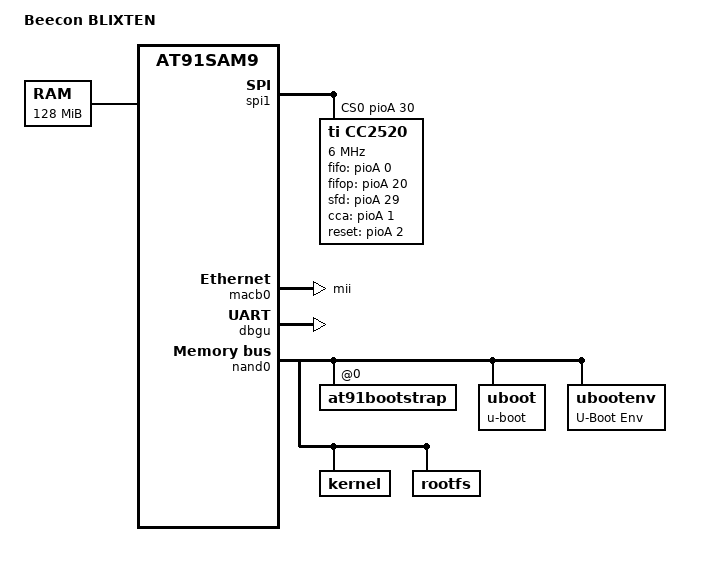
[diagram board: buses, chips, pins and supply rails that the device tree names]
/*
 * at91sam9g25ek.dts - Device Tree file for AT91SAM9G25-EK board
 *
 *  Copyright (C) 2012 Atmel,
 *                2012 Nicolas Ferre <nicolas.ferre@atmel.com>
 *
 * Licensed under GPLv2 or later.
 */
/dts-v1/;
#include "at91sam9g25.dtsi"

/ {
	model = "Beecon BLIXTEN";
	compatible = "atmel,at91sam9g25ek", "atmel,at91sam9x5ek", "atmel,at91sam9x5", "atmel,at91sam9";

	chosen {
		bootargs = "root=/dev/mtdblock1 rw rootfstype=ubifs ubi.mtd=1 root=ubi0:rootfs";
		stdout-path = "serial0:115200n8";
	};


	memory {
		reg = <0x20000000 0x8000000>;
	};


	clocks {
		#address-cells = <1>;
		#size-cells = <1>;
		ranges;

		main_clock: clock@0 {
			compatible = "atmel,osc", "fixed-clock";
			clock-frequency = <12000000>;
		};
	};

	clocks {
		slow_xtal {
			clock-frequency = <32768>;
		};

		main_xtal {
			clock-frequency = <12000000>;
		};
	};

	ahb {
		apb {
			pinctrl@fffff400 {
			};

			spi1: spi@f0004000 {
				status = "okay";
				cs-gpios = <&pioA 30 0>;
				cc2520@0x00 {
					compatible = "ti,cc2520";
					spi-max-frequency = <6000000>;
					reg = <0>;
					fifo-gpio = <&pioA 0 0>;
					fifop-gpio = <&pioA 20 0>;
					sfd-gpio = <&pioA 29 0>;
					cca-gpio = <&pioA 1 0>;
					reset-gpio = <&pioA 2 0>;
				};
			};

                        macb0: ethernet@f802c000 {
                                pinctrl-0 = <&pinctrl_macb0_rmii &pinctrl_macb0_rmii_mii>;
                                phy-mode = "mii";
                                status = "okay";
                        };
			rtc@fffffeb0 {
				status = "okay";
			};

			dbgu: serial@fffff200 {
				status = "okay";
			};


		};
		nand0: nand@40000000 {
			nand-bus-width = <8>;
			nand-ecc-mode = "hw";
			atmel,has-pmecc;	/* Enable PMECC */
			atmel,pmecc-cap = <2>;
			atmel,pmecc-sector-size = <512>;
			nand-on-flash-bbt;
			status = "okay";

			at91bootstrap@0 {
				label = "at91bootstrap";
				reg = <0x0 0x40000>;
			};

			uboot@40000 {
				label = "u-boot";
				reg = <0x40000 0x80000>;
			};

			ubootenv@c0000 {
				label = "U-Boot Env";
				reg = <0xc0000 0x140000>;
			};

			kernel@200000 {
				label = "kernel";
				reg = <0x200000 0x600000>;
			};

			rootfs@800000 {
				label = "rootfs";
				reg = <0x800000 0x1f800000>;
			};
		};

	};

};


